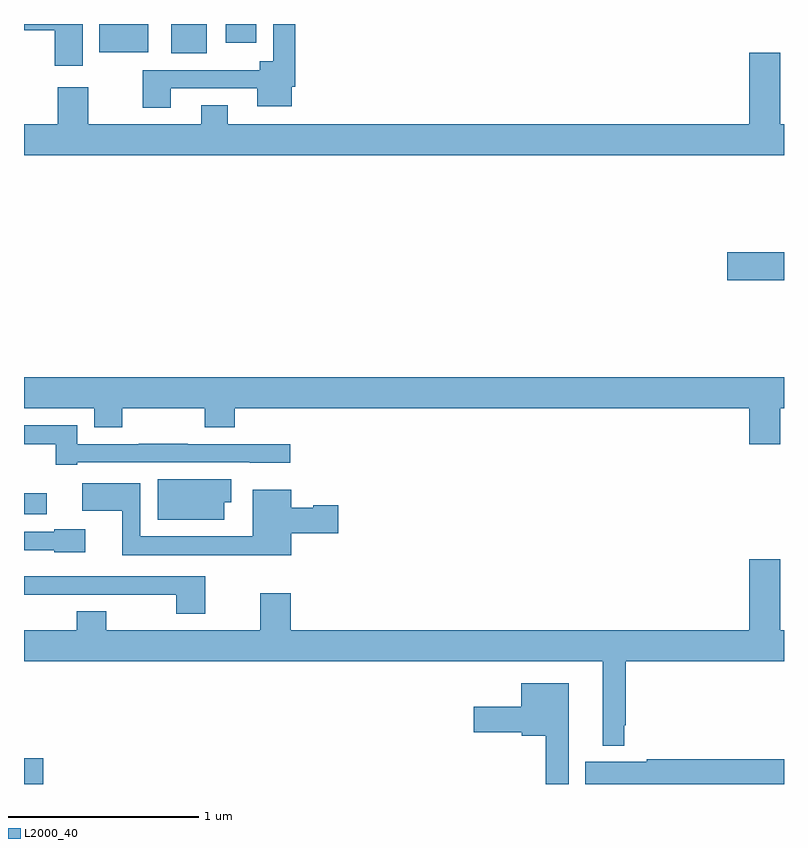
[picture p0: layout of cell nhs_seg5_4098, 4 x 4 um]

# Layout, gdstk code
import gdstk
lib = gdstk.Library(unit=1e-6, precision=1e-09)
def R(c, l, rs):  # rectangles x0, y0, x1, y1
    for r in rs: c.add(gdstk.rectangle(r[:2], r[2:], *l))
def P(c, l, *ps):  # polygons
    for p in ps: c.add(gdstk.Polygon(p, *l))
L2000_40 = (2000, 40)

nhs_seg5_4098 = lib.new_cell('nhs_seg5_4098')
R(nhs_seg5_4098, L2000_40, [(353,838.799,353.101,838.934), (353,840.219,353.119,840.328), (356.7,841.451,357,841.598), (353.774,842.645,353.962,842.799), (353.396,842.651,353.653,842.799), (354.062,842.7,354.223,842.799)])
P(nhs_seg5_4098, L2000_40, [(353.308,842.799),(353,842.799),(353,842.765),(353.162,842.765),(353.162,842.58),(353.308,842.58)],
  [(353.773,842.46),(354.227,842.46),(354.227,842.366),(354.409,842.366),(354.409,842.47),(354.428,842.47),(354.428,842.799),(354.312,842.799),(354.312,842.602),(354.242,842.602),(354.242,842.556),(353.626,842.556),(353.626,842.358),(353.773,842.358)],
  [(357,842.272),(356.98,842.272),(356.98,842.647),(356.816,842.647),(356.816,842.272),(354.073,842.272),(354.073,842.371),(353.933,842.371),(353.933,842.272),(353.337,842.272),(353.337,842.467),(353.177,842.467),(353.177,842.272),(353,842.272),(353,842.108),(357,842.108)],
  [(356.98,840.776),(357,840.776),(357,840.94),(353,840.94),(353,840.776),(353.369,840.776),(353.369,840.677),(353.517,840.677),(353.517,840.776),(353.95,840.776),(353.95,840.677),(354.11,840.677),(354.11,840.776),(356.816,840.776),(356.816,840.588),(356.98,840.588)],
  [(353.281,840.492),(354.187,840.492),(354.187,840.491),(354.4,840.491),(354.4,840.588),(353.861,840.588),(353.861,840.59),(353.605,840.59),(353.605,840.588),(353.281,840.588),(353.281,840.687),(353,840.687),(353,840.586),(353.167,840.586),(353.167,840.48),(353.281,840.48)],
  [(354.055,840.281),(354.091,840.281),(354.091,840.403),(353.705,840.403),(353.705,840.191),(354.055,840.191)],
  [(354.406,840.119),(354.655,840.119),(354.655,840.266),(354.522,840.266),(354.522,840.253),(354.406,840.253),(354.406,840.349),(354.203,840.349),(354.203,840.103),(353.613,840.103),(353.613,840.382),(353.307,840.382),(353.307,840.236),(353.516,840.236),(353.516,840.002),(354.406,840.002)],
  [(353.323,840.141),(353.16,840.141),(353.16,840.126),(353,840.126),(353,840.03),(353.16,840.03),(353.16,840.02),(353.323,840.02)],
  [(356.16,839.107),(356.167,839.107),(356.167,839.444),(357,839.444),(357,839.608),(356.98,839.608),(356.98,839.983),(356.816,839.983),(356.816,839.608),(354.404,839.608),(354.404,839.803),(354.244,839.803),(354.244,839.608),(353.433,839.608),(353.433,839.707),(353.278,839.707),(353.278,839.608),(353,839.608),(353,839.444),(356.045,839.444),(356.045,839),(356.16,839)],
  [(353.955,839.892),(353,839.892),(353,839.795),(353.189,839.795),(353.189,839.796),(353.521,839.796),(353.521,839.795),(353.8,839.795),(353.8,839.694),(353.955,839.694)],
  [(355.867,839.329),(355.616,839.329),(355.616,839.206),(355.368,839.206),(355.368,839.072),(355.62,839.072),(355.62,839.054),(355.746,839.054),(355.746,838.799),(355.867,838.799)],
  [(357,838.928),(356.278,838.928),(356.278,838.915),(355.955,838.915),(355.955,838.799),(357,838.799)])

lib.write_gds('nhs_seg5_4098.gds')
